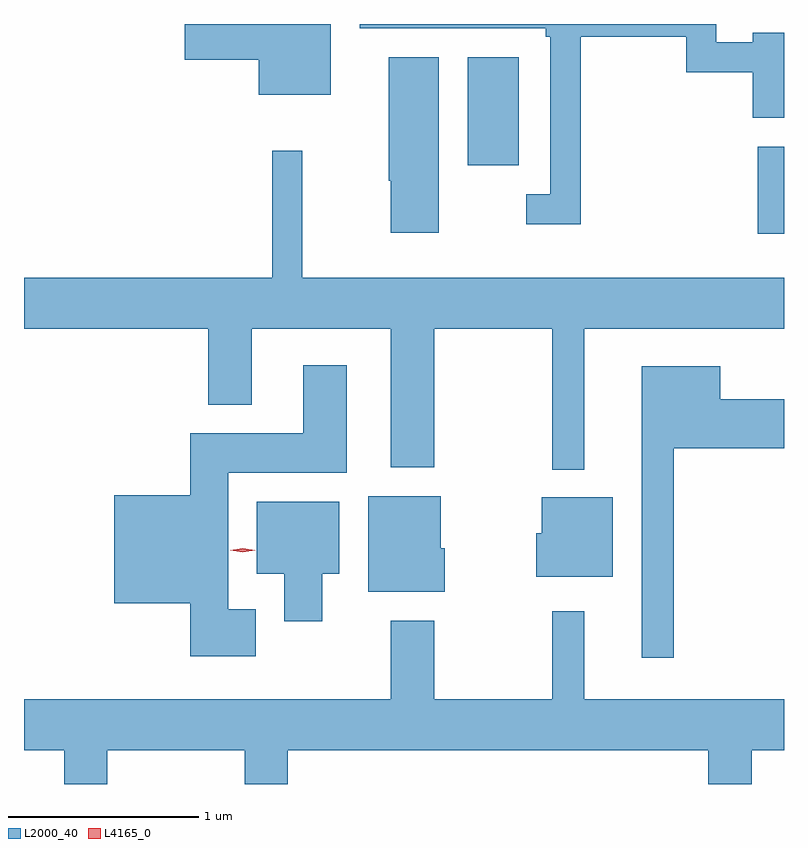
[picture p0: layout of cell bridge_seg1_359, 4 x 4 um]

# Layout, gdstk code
import gdstk
lib = gdstk.Library(unit=1e-6, precision=1e-09)
def R(c, l, rs):  # rectangles x0, y0, x1, y1
    for r in rs: c.add(gdstk.rectangle(r[:2], r[2:], *l))
def P(c, l, *ps):  # polygons
    for p in ps: c.add(gdstk.Polygon(p, *l))
L2000_40 = (2000, 40)
L4165_0 = (4165, 0)

bridge_seg1_359 = lib.new_cell('bridge_seg1_359')
R(bridge_seg1_359, L2000_40, [(885.761,862.336,885.9,862.794), (884.236,862.696,884.504,863.264)])
P(bridge_seg1_359, L2000_40, [(883.514,863.439),(882.746,863.439),(882.746,863.251),(883.136,863.251),(883.136,863.066),(883.514,863.066)],
  [(884.829,863.371),(885.386,863.371),(885.386,863.186),(885.736,863.186),(885.736,862.946),(885.9,862.946),(885.9,863.394),(885.736,863.394),(885.736,863.344),(885.544,863.344),(885.544,863.439),(883.666,863.439),(883.666,863.416),(884.646,863.416),(884.646,863.371),(884.671,863.371),(884.671,862.544),(884.543,862.544),(884.543,862.386),(884.829,862.386)],
  [(884.084,863.264),(883.821,863.264),(883.821,862.615),(883.831,862.615),(883.831,862.341),(884.084,862.341)],
  [(881.9,861.836),(882.871,861.836),(882.871,861.436),(883.099,861.436),(883.099,861.836),(883.831,861.836),(883.831,861.106),(884.059,861.106),(884.059,861.836),(884.681,861.836),(884.681,861.093),(884.849,861.093),(884.849,861.836),(885.9,861.836),(885.9,862.104),(883.364,862.104),(883.364,862.773),(883.206,862.773),(883.206,862.104),(881.9,862.104)],
  [(883.119,860.359),(882.974,860.359),(882.974,861.076),(883.599,861.076),(883.599,861.644),(883.371,861.644),(883.371,861.284),(882.776,861.284),(882.776,860.959),(882.376,860.959),(882.376,860.391),(882.776,860.391),(882.776,860.111),(883.119,860.111)],
  [(885.319,861.206),(885.9,861.206),(885.9,861.464),(885.564,861.464),(885.564,861.639),(885.151,861.639),(885.151,860.103),(885.319,860.103)],
  [(884.114,860.679),(884.094,860.679),(884.094,860.954),(883.711,860.954),(883.711,860.451),(884.114,860.451)],
  [(884.999,860.949),(884.626,860.949),(884.626,860.759),(884.596,860.759),(884.596,860.531),(884.999,860.531)],
  [(883.469,860.546),(883.559,860.546),(883.559,860.924),(883.126,860.924),(883.126,860.546),(883.271,860.546),(883.271,860.296),(883.469,860.296)],
  [(882.339,859.616),(883.061,859.616),(883.061,859.439),(883.289,859.439),(883.289,859.616),(885.501,859.616),(885.501,859.439),(885.729,859.439),(885.729,859.616),(885.9,859.616),(885.9,859.884),(884.849,859.884),(884.849,860.348),(884.681,860.348),(884.681,859.884),(884.059,859.884),(884.059,860.299),(883.831,860.299),(883.831,859.884),(881.9,859.884),(881.9,859.616),(882.111,859.616),(882.111,859.439),(882.339,859.439)])
P(bridge_seg1_359, L4165_0, [(883.052,860.66),(882.986,860.669),(882.986,860.67),(882.986,860.67),(883.052,860.68),(883.118,860.67),(883.118,860.67),(883.118,860.669)])

lib.write_gds('bridge_seg1_359.gds')
